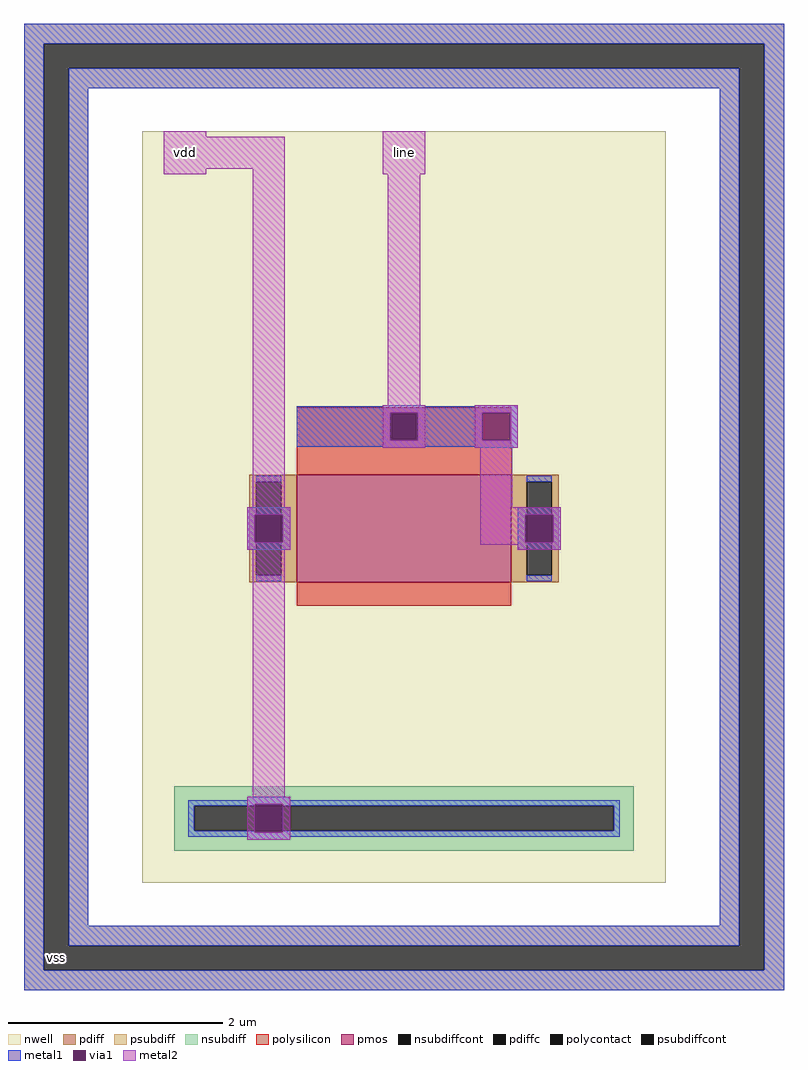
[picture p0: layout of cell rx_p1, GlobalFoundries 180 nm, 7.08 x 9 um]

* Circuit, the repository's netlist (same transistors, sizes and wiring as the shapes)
* NGSPICE file created from rx_p1.ext - technology: gf180mcuD

.subckt p_w1_l2 w_n374_n230# a_n288_n100# a_200_n100# a_n200_n144#
X0 a_200_n100# a_n200_n144# a_n288_n100# w_n374_n230# pfet_03v3 ad=0.44p pd=2.88u as=0.44p ps=2.88u w=1u l=2u
.ends

.subckt rx_p1 line vdd vss
XD vdd vdd line line p_w1_l2
.ends

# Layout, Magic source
magic
tech gf180mcuD
magscale 1 10
<< nwell >>
rect 220 200 1196 1600
<< psubdiff >>
rect 0 1763 1416 1800
rect 0 37 37 1763
rect 83 1680 1333 1717
rect 83 120 120 1680
rect 1296 120 1333 1680
rect 83 83 1333 120
rect 1379 37 1416 1763
rect 0 0 1416 37
<< nsubdiff >>
rect 280 343 1136 380
rect 280 297 317 343
rect 1099 297 1136 343
rect 280 260 1136 297
<< psubdiffcont >>
rect 37 1717 1379 1763
rect 37 83 83 1717
rect 1333 83 1379 1717
rect 37 37 1379 83
<< nsubdiffcont >>
rect 317 297 1099 343
<< polysilicon >>
rect 508 1073 908 1086
rect 508 1027 685 1073
rect 731 1027 908 1073
rect 508 960 908 1027
<< polycontact >>
rect 685 1027 731 1073
<< metal1 >>
rect 0 1763 1416 1800
rect 0 37 37 1763
rect 83 1680 1333 1717
rect 83 120 120 1680
rect 668 1088 748 1090
rect 840 1088 920 1090
rect 508 1076 920 1088
rect 508 1024 682 1076
rect 734 1024 854 1076
rect 906 1024 920 1076
rect 508 1012 920 1024
rect 668 1010 748 1012
rect 840 1010 920 1012
rect 416 886 496 900
rect 416 834 430 886
rect 482 834 496 886
rect 416 820 496 834
rect 920 886 1000 900
rect 920 834 934 886
rect 986 834 1000 886
rect 920 820 1000 834
rect 416 354 496 360
rect 306 346 1110 354
rect 306 343 430 346
rect 482 343 1110 346
rect 306 297 317 343
rect 1099 297 1110 343
rect 306 294 430 297
rect 482 294 1110 297
rect 306 286 1110 294
rect 416 280 496 286
rect 1296 120 1333 1680
rect 83 83 1333 120
rect 1379 37 1416 1763
rect 0 0 1416 37
<< via1 >>
rect 682 1073 734 1076
rect 682 1027 685 1073
rect 685 1027 731 1073
rect 731 1027 734 1073
rect 682 1024 734 1027
rect 854 1024 906 1076
rect 430 834 482 886
rect 934 834 986 886
rect 430 343 482 346
rect 430 297 482 343
rect 430 294 482 297
<< metal2 >>
rect 260 1590 340 1600
rect 260 1530 486 1590
rect 260 1520 340 1530
rect 426 900 486 1530
rect 668 1520 748 1600
rect 678 1090 738 1520
rect 668 1076 748 1090
rect 668 1024 682 1076
rect 734 1024 748 1076
rect 668 1010 748 1024
rect 840 1076 920 1090
rect 840 1024 854 1076
rect 906 1024 920 1076
rect 840 1010 920 1024
rect 850 900 910 1010
rect 416 886 496 900
rect 416 834 430 886
rect 482 834 496 886
rect 416 820 496 834
rect 850 886 1000 900
rect 850 834 934 886
rect 986 834 1000 886
rect 850 830 1000 834
rect 920 820 1000 830
rect 426 360 486 820
rect 416 346 496 360
rect 416 294 430 346
rect 482 294 496 346
rect 416 280 496 294
use p_w1_l2  D devices
transform 1 0 708 0 1 860
box -374 -230 374 230
<< labels >>
flabel metal2 668 1520 748 1600 0 FreeSans 400 0 0 0 line
port 1 nsew signal bidirectional
flabel metal2 260 1520 340 1600 0 FreeSans 400 0 0 0 vdd
port 2 nsew power bidirectional
flabel metal1 20 20 100 100 0 FreeSans 400 0 0 0 vss
port 3 nsew ground bidirectional
<< end >>

# cell p_w1_l2: kit device pfet_03v3, w 1 l 2 m 1 nf 1 diffcov 100 polycov 100 guard 0 glc 1 grc 1 gtc 0 gbc 0 tbcov 100 rlcov 100 topc 0 botc 0 poverlap 0 doverlap 1 lmin 0.28 wmin 0.22 class mosfet full_metal 1 compatible {pfet_03v3 pfet_05v0 pfet_06v0}
